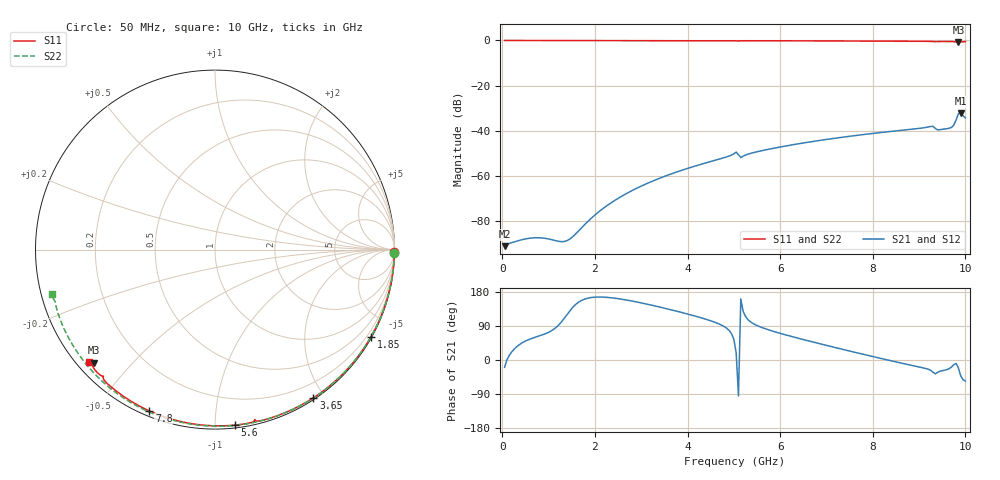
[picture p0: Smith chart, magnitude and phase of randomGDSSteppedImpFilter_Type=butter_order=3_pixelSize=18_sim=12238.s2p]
! freq	dB(S11)	phase(S11)	dB(S12)	phase(S12)
!  dB(S21)	phase(S21)	dB(S22)	phase(S22)
!S-par simulation data
#  GHz  S  DB  R 50
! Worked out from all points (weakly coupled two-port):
!   200 points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, 50 MHz to 10 GHz, reference 50 ohm
!   highest |S21| = -32.25 dB at 9.9 GHz (marker M1); lowest = -91.1 dB at 50 MHz (marker M2)
!   lowest |S11| = -0.7 dB at 9.85 GHz (marker M3), VSWR 24.75, Z = 2.33 - j19.7 ohm
!   |S11| at or under -10 dB: nowhere
!   |S22| runs from -0.6 to 0.0 dB; largest |S21 - S12| = 0
!   S11 on the Smith chart (normalised r, x): 50 MHz: open; 1.85 GHz: 0.03, -3.83; 3.65 GHz: 0.02, -1.86; 5.6 GHz: 0.02, -1.12; 7.8 GHz: 0.02, -0.67; 10 GHz: 0.03, -0.38
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0.05  -0.00 -0.8  -91.07 -19.3  -91.07 -19.3  -0.00 -1.0
0.85  -0.02 -13.6  -87.43 65.7  -87.43 65.7  -0.02 -16.2
1.75  -0.04 -27.7  -82.13 159.3  -82.13 159.3  -0.04 -33.0
1.85  -0.04 -29.3  -80.09 163.2  -80.09 163.2  -0.04 -34.8
2.5  -0.05 -39.3  -69.91 161.9  -69.91 161.9  -0.06 -46.6
3.4  -0.07 -52.7  -60.98 139.7  -60.98 139.7  -0.08 -62.5
3.65  -0.08 -56.4  -59.06 132.3  -59.06 132.3  -0.09 -66.8
4.85  -0.11 -73.6  -51.52 83.3  -51.52 83.3  -0.13 -86.7
5.05  -0.17 -76.7  -49.42 19.1  -49.42 19.1  -0.15 -90.0
5.15  -0.16 -77.2  -51.82 161.3  -51.82 161.3  -0.15 -91.4
5.6  -0.14 -83.6  -48.82 85.9  -48.82 85.9  -0.16 -98.6
6.7  -0.19 -98.2  -44.74 47.7  -44.74 47.7  -0.23 -115.4
7.8  -0.26 -112.1  -41.65 14.8  -41.65 14.8  -0.31 -131.8
8.35  -0.30 -119.0  -40.36 -0.8  -40.36 -0.8  -0.36 -140.0
9.25  -0.42 -130.5  -38.07 -27.2  -38.07 -27.2  -0.46 -153.4
9.3  -0.48 -131.3  -38.02 -32.3  -38.02 -32.3  -0.47 -154.2
9.4  -0.51 -131.6  -39.59 -32.6  -39.59 -32.6  -0.48 -155.6
9.65  -0.48 -135.0  -38.88 -22.8  -38.88 -22.8  -0.52 -159.4
9.75  -0.53 -136.4  -37.46 -12.4  -37.46 -12.4  -0.55 -160.9
9.85  -0.70 -137.0  -32.37 -21.6  -32.37 -21.6  -0.56 -162.1
9.9  -0.62 -136.8  -32.25 -42.0  -32.25 -42.0  -0.53 -162.9
10  -0.52 -138.2  -34.29 -55.5  -34.29 -55.5  -0.53 -164.6
